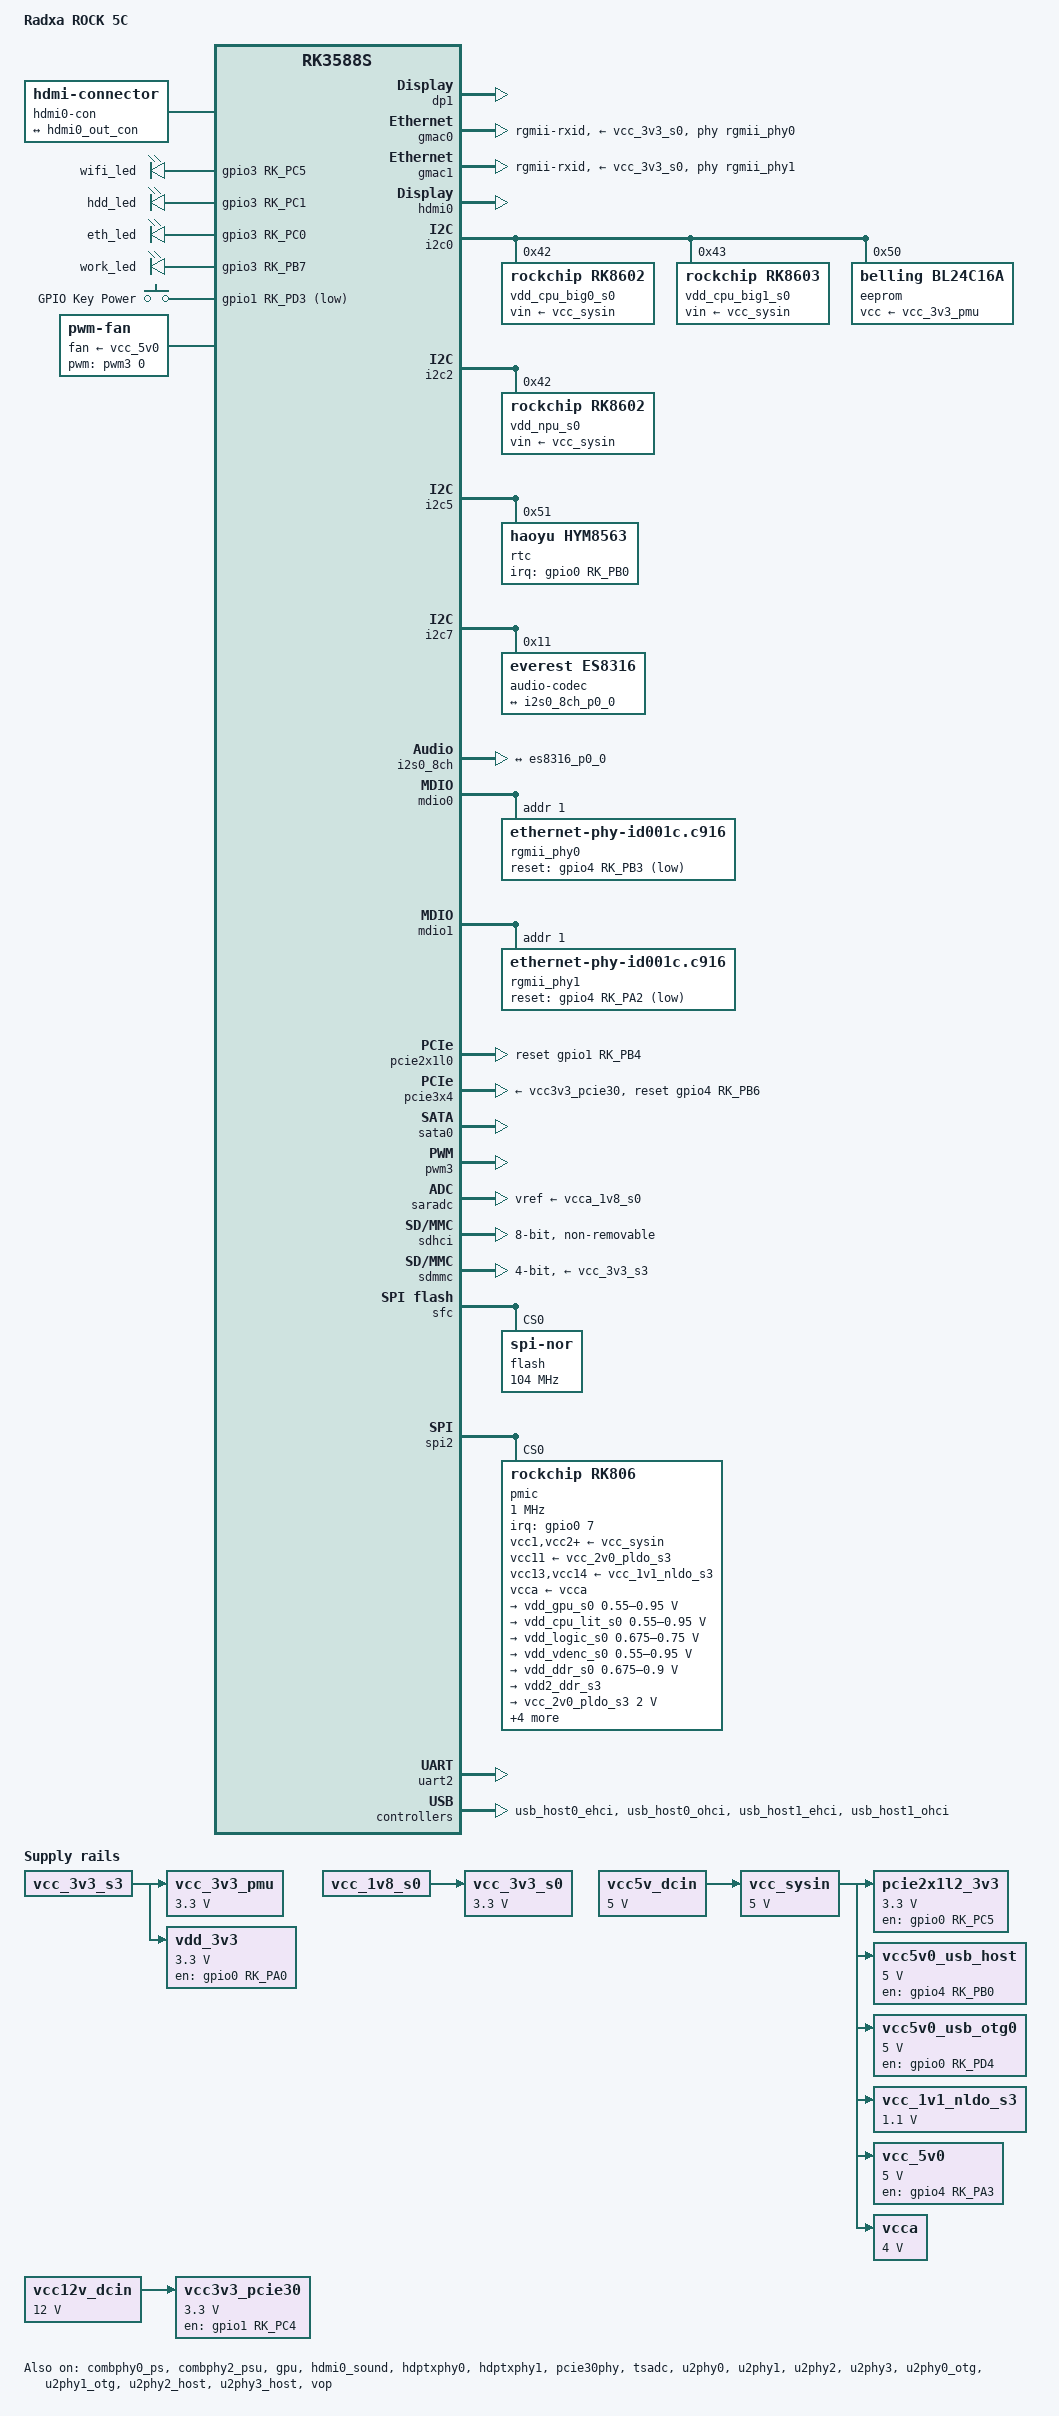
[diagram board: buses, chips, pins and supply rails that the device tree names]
// SPDX-License-Identifier: (GPL-2.0+ OR MIT)
/*
 * Copyright (c) 2024 Radxa Computer (Shenzhen) Co., Ltd.
 */

/dts-v1/;

#include <dt-bindings/gpio/gpio.h>
#include <dt-bindings/input/input.h>
#include <dt-bindings/leds/common.h>
#include <dt-bindings/pinctrl/rockchip.h>
#include <dt-bindings/soc/rockchip,vop2.h>
#include "rk3588.dtsi"

/ {
	model = "Radxa ROCK 5C";
	compatible = "radxa,rock-5c", "rockchip,rk3588s";

	aliases {
		ethernet0 = &gmac0;
		ethernet1 = &gmac1;
		mmc0 = &sdhci;
		mmc1 = &sdmmc;
	};

	chosen {
		stdout-path = "serial2:1500000n8";
	};

	hdmi0-con {
		compatible = "hdmi-connector";
		type = "a";

		port {
			hdmi0_con_in: endpoint {
				remote-endpoint = <&hdmi0_out_con>;
			};
		};
	};

	analog-sound {
		compatible = "audio-graph-card";
		label = "rk3588-es8316";
		dais = <&i2s0_8ch_p0>;
		routing = "MIC2", "Mic Jack",
			  "Headphones", "HPOL",
			  "Headphones", "HPOR";
		widgets = "Microphone", "Mic Jack",
			  "Headphone", "Headphones";
	};

	leds {
		compatible = "gpio-leds";
		wifi_led: wifi-led {
			gpios = <&gpio3 RK_PC5 GPIO_ACTIVE_HIGH>;
			default-state = "off";
		};
		hdd_led: hdd-led {
			gpios = <&gpio3 RK_PC1 GPIO_ACTIVE_HIGH>;
			default-state = "off";
		};
		eth_led: eth-led {
			gpios = <&gpio3 RK_PC0 GPIO_ACTIVE_HIGH>;
			default-state = "off";
		};
		work_led: work-led {
			gpios = <&gpio3 RK_PB7 GPIO_ACTIVE_HIGH>;
			//linux,default-trigger = "heartbeat";
			default-state = "on";
		};
	};

	gpio-keys {
		compatible = "gpio-keys";
		autorepeat;
		pinctrl-names = "default";
		pinctrl-0 = <&pwrbtn>;

		power {
			debounce-interval = <100>;
			gpios = <&gpio1 RK_PD3 GPIO_ACTIVE_LOW>;
			//gpios = <&gpio0 RK_PD5 GPIO_ACTIVE_LOW>;
			label = "GPIO Key Power";
			linux,code = <KEY_POWER>;
			wakeup-source;
		};
	};

	fan: fan {
		compatible = "pwm-fan";
		#cooling-cells = <2>;
		cooling-levels = <0 24 44 64 128 192 255>;
		fan-supply = <&vcc_5v0>;
		pwms = <&pwm3 0 10000 0>;
	};

	pcie2x1l2_3v3: regulator-pcie2x1l2-3v3 {
		compatible = "regulator-fixed";
		enable-active-high;
		gpio = <&gpio0 RK_PC5 GPIO_ACTIVE_HIGH>;
		pinctrl-names = "default";
		pinctrl-0 = <&pow_en>;
		regulator-name = "pcie2x1l2_3v3";
		regulator-min-microvolt = <3300000>;
		regulator-max-microvolt = <3300000>;
		vin-supply = <&vcc_sysin>;
	};

	vcc5v_dcin: regulator-vcc5v-dcin {
		compatible = "regulator-fixed";
		regulator-name = "vcc5v_dcin";
		regulator-always-on;
		regulator-boot-on;
		regulator-min-microvolt = <5000000>;
		regulator-max-microvolt = <5000000>;
	};

	vcc5v0_usb_host: regulator-vcc5v0-usb-host {
		compatible = "regulator-fixed";
		enable-active-high;
		gpio = <&gpio4 RK_PB0 GPIO_ACTIVE_HIGH>;
		pinctrl-names = "default";
		pinctrl-0 = <&usb_host_pwren_h>;
		regulator-name = "vcc5v0_usb_host";
		regulator-min-microvolt = <5000000>;
		regulator-max-microvolt = <5000000>;
		vin-supply = <&vcc_sysin>;
	};

	vcc5v0_usb_otg0: regulator-vcc5v0-usb-otg0 {
		compatible = "regulator-fixed";
		enable-active-high;
		gpio = <&gpio0 RK_PD4 GPIO_ACTIVE_HIGH>;
		pinctrl-names = "default";
		pinctrl-0 = <&usb_otg_pwren_h>;
		regulator-name = "vcc5v0_usb_otg0";
		regulator-min-microvolt = <5000000>;
		regulator-max-microvolt = <5000000>;
		vin-supply = <&vcc_sysin>;
	};

	vcc_1v1_nldo_s3: regulator-vcc-1v1-nldo-s3 {
		compatible = "regulator-fixed";
		regulator-name = "vcc_1v1_nldo_s3";
		regulator-always-on;
		regulator-boot-on;
		regulator-min-microvolt = <1100000>;
		regulator-max-microvolt = <1100000>;
		vin-supply = <&vcc_sysin>;
	};

	vcc_3v3_pmu: regulator-vcc-3v3-pmu {
		compatible = "regulator-fixed";
		regulator-name = "vcc_3v3_pmu";
		regulator-always-on;
		regulator-boot-on;
		regulator-min-microvolt = <3300000>;
		regulator-max-microvolt = <3300000>;
		vin-supply = <&vcc_3v3_s3>;
	};

	vcc_3v3_s0: regulator-vcc-3v3-s0 {
		compatible = "regulator-fixed";
		regulator-name = "vcc_3v3_s0";
		regulator-always-on;
		regulator-boot-on;
		regulator-min-microvolt = <3300000>;
		regulator-max-microvolt = <3300000>;
		vin-supply = <&vcc_1v8_s0>;
	};

	vcc_5v0: regulator-vcc-5v0 {
		compatible = "regulator-fixed";
		enable-active-high;
		gpio = <&gpio4 RK_PA3 GPIO_ACTIVE_HIGH>;
		pinctrl-names = "default";
		pinctrl-0 = <&vcc_5v0_pwren_h>;
		regulator-name = "vcc_5v0";
		regulator-min-microvolt = <5000000>;
		regulator-max-microvolt = <5000000>;
		vin-supply = <&vcc_sysin>;
	};

	vcc_sysin: regulator-vcc-sysin {
		compatible = "regulator-fixed";
		regulator-name = "vcc_sysin";
		regulator-always-on;
		regulator-boot-on;
		regulator-min-microvolt = <5000000>;
		regulator-max-microvolt = <5000000>;
		vin-supply = <&vcc5v_dcin>;
	};

	vcca: regulator-vcca {
		compatible = "regulator-fixed";
		regulator-name = "vcca";
		regulator-always-on;
		regulator-boot-on;
		regulator-min-microvolt = <4000000>;
		regulator-max-microvolt = <4000000>;
		vin-supply = <&vcc_sysin>;
	};

	vdd_3v3: regulator-vdd-3v3 {
		compatible = "regulator-fixed";
		enable-active-high;
		gpio = <&gpio0 RK_PA0 GPIO_ACTIVE_HIGH>;
		pinctrl-names = "default";
		pinctrl-0 = <&usb_wifi_pwr>;
		regulator-name = "vdd_3v3";
		regulator-always-on;
		regulator-boot-on;
		regulator-min-microvolt = <3300000>;
		regulator-max-microvolt = <3300000>;
		vin-supply = <&vcc_3v3_s3>;
	};

	vcc12v_dcin: vcc12v-dcin {
		compatible = "regulator-fixed";
		regulator-name = "vcc12v_dcin";
		regulator-always-on;
		regulator-boot-on;
		regulator-min-microvolt = <12000000>;
		regulator-max-microvolt = <12000000>;
	};

	vcc3v3_pcie30: vcc3v3-pcie30 {
		compatible = "regulator-fixed";
		regulator-name = "vcc3v3_pcie30";
		regulator-min-microvolt = <3300000>;
		regulator-max-microvolt = <3300000>;
		enable-active-high;
		pinctrl-names = "default";
		pinctrl-0 = <&vcc3v3_pcie30_en>;		
		gpios = <&gpio1 RK_PC4 GPIO_ACTIVE_HIGH>;    //hugsun gpio1_c4
		startup-delay-us = <10000>;
		vin-supply = <&vcc12v_dcin>;
	};
};

&combphy0_ps {
	status = "okay";
};

&combphy2_psu {
	status = "okay";
};

&cpu_b0 {
	cpu-supply = <&vdd_cpu_big0_s0>;
};

&cpu_b1 {
	cpu-supply = <&vdd_cpu_big0_s0>;
};

&cpu_b2 {
	cpu-supply = <&vdd_cpu_big1_s0>;
};

&cpu_b3 {
	cpu-supply = <&vdd_cpu_big1_s0>;
};

&cpu_l0 {
	cpu-supply = <&vdd_cpu_lit_s0>;
};

&cpu_l1 {
	cpu-supply = <&vdd_cpu_lit_s0>;
};

&cpu_l2 {
	cpu-supply = <&vdd_cpu_lit_s0>;
};

&cpu_l3 {
	cpu-supply = <&vdd_cpu_lit_s0>;
};

&dp0 {
	status = "disable";
};

//&dp0_in_vp2 {
//	status = "okay";
//};

&dp1 {
	pinctrl-0 = <&dp1m0_pins>;
	pinctrl-names = "default";
	status = "okay";
};

&gmac0 {
	clock_in_out = "output";
	phy-handle = <&rgmii_phy0>;
	phy-mode = "rgmii-rxid";
	phy-supply = <&vcc_3v3_s0>;
	pinctrl-0 = <&gmac0_miim
		     &gmac0_tx_bus2
		     &gmac0_rx_bus2
		     &gmac0_rgmii_clk
		     &gmac0_rgmii_bus
		     &gmac0_clkinout>;
	pinctrl-names = "default";
	tx_delay = <0x44>;
	status = "okay";
};

&gmac1 {
	clock_in_out = "output";
	phy-handle = <&rgmii_phy1>;
	phy-mode = "rgmii-rxid";
	phy-supply = <&vcc_3v3_s0>;
	pinctrl-0 = <&gmac1_miim
		     &gmac1_tx_bus2
		     &gmac1_rx_bus2
		     &gmac1_rgmii_clk
		     &gmac1_rgmii_bus
		     &gmac1_clkinout>;
	pinctrl-names = "default";
	tx_delay = <0x42>;
	status = "okay";
};

&gpu {
	mali-supply = <&vdd_gpu_s0>;
	status = "okay";
};

&hdmi0 {
	enable-gpios = <&gpio4 RK_PB1 GPIO_ACTIVE_HIGH>;
	cec-enable = "true" ;
	status = "okay";
};

&hdmi0_in {
	hdmi0_in_vp0: endpoint {
		remote-endpoint = <&vp0_out_hdmi0>;
	};
};

&hdmi0_out {
	hdmi0_out_con: endpoint {
		remote-endpoint = <&hdmi0_con_in>;
	};
};

&hdmi0_sound {
	status = "okay";
};

&hdptxphy0 {
	status = "okay";
};

&hdptxphy1 {
	status = "okay";
};

&i2c0 {
	pinctrl-names = "default";
	pinctrl-0 = <&i2c0m2_xfer>;
	status = "okay";

	vdd_cpu_big0_s0: regulator@42 {
		compatible = "rockchip,rk8602";
		reg = <0x42>;
		fcs,suspend-voltage-selector = <1>;
		regulator-name = "vdd_cpu_big0_s0";
		regulator-always-on;
		regulator-boot-on;
		regulator-min-microvolt = <550000>;
		regulator-max-microvolt = <1050000>;
		regulator-ramp-delay = <2300>;
		vin-supply = <&vcc_sysin>;

		regulator-state-mem {
			regulator-off-in-suspend;
		};
	};

	vdd_cpu_big1_s0: regulator@43 {
		compatible = "rockchip,rk8603", "rockchip,rk8602";
		reg = <0x43>;
		fcs,suspend-voltage-selector = <1>;
		regulator-name = "vdd_cpu_big1_s0";
		regulator-always-on;
		regulator-boot-on;
		regulator-min-microvolt = <550000>;
		regulator-max-microvolt = <1050000>;
		regulator-ramp-delay = <2300>;
		vin-supply = <&vcc_sysin>;

		regulator-state-mem {
			regulator-off-in-suspend;
		};
	};

	eeprom@50 {
		compatible = "belling,bl24c16a", "atmel,24c16";
		reg = <0x50>;
		pagesize = <16>;
		vcc-supply = <&vcc_3v3_pmu>;
	};
};

&i2c2 {
	status = "okay";

	vdd_npu_s0: regulator@42 {
		compatible = "rockchip,rk8602";
		reg = <0x42>;
		fcs,suspend-voltage-selector = <1>;
		regulator-name = "vdd_npu_s0";
		regulator-always-on;
		regulator-boot-on;
		regulator-min-microvolt = <550000>;
		regulator-max-microvolt = <950000>;
		regulator-ramp-delay = <2300>;
		vin-supply = <&vcc_sysin>;

		regulator-state-mem {
			regulator-off-in-suspend;
		};
	};
};

&i2c5 {
	pinctrl-names = "default";
	pinctrl-0 = <&i2c5m2_xfer>;
	status = "okay";

	rtc@51 {
		compatible = "haoyu,hym8563";
		reg = <0x51>;
		#clock-cells = <0>;
		clock-output-names = "rtcic_32kout";
		interrupt-parent = <&gpio0>;
		interrupts = <RK_PB0 IRQ_TYPE_LEVEL_LOW>;
		pinctrl-names = "default";
		pinctrl-0 = <&rtc_int_l>;
	};
};

&i2c7 {
	status = "okay";

	audio-codec@11 {
		compatible = "everest,es8316";
		reg = <0x11>;
		assigned-clocks = <&cru I2S0_8CH_MCLKOUT>;
		assigned-clock-rates = <12288000>;
		clocks = <&cru I2S0_8CH_MCLKOUT>;
		clock-names = "mclk";
		#sound-dai-cells = <0>;

		port {
			es8316_p0_0: endpoint {
				remote-endpoint = <&i2s0_8ch_p0_0>;
			};
		};
	};
};

&i2s0_8ch {
	pinctrl-names = "default";
	pinctrl-0 = <&i2s0_lrck
		     &i2s0_mclk
		     &i2s0_sclk
		     &i2s0_sdi0
		     &i2s0_sdo0>;
	status = "okay";

	i2s0_8ch_p0: port {
		i2s0_8ch_p0_0: endpoint {
			dai-format = "i2s";
			mclk-fs = <256>;
			remote-endpoint = <&es8316_p0_0>;
		};
	};
};

&mdio0 {
	rgmii_phy0: ethernet-phy@0 {
		compatible = "ethernet-phy-id001c.c916";
		reg = <1>;
		pinctrl-names = "default";
		pinctrl-0 = <&gmac0_rstn>;
		reset-assert-us = <20000>;
		reset-deassert-us = <100000>;
		reset-gpios = <&gpio4 RK_PB3 GPIO_ACTIVE_LOW>;
	};
};

&mdio1 {
	rgmii_phy1: ethernet-phy@1 {
		compatible = "ethernet-phy-id001c.c916";
		reg = <1>;
		pinctrl-names = "default";
		pinctrl-0 = <&gmac1_rstn>;
		reset-assert-us = <20000>;
		reset-deassert-us = <100000>;
		reset-gpios = <&gpio4 RK_PA2 GPIO_ACTIVE_LOW>;
	};
};

&package_thermal {
	polling-delay = <1000>;

	trips {
		package_fan0: package-fan0 {
			temperature = <55000>;
			hysteresis = <2000>;
			type = "active";
		};

		package_fan1: package-fan1 {
			temperature = <65000>;
			hysteresis = <2000>;
			type = "active";
		};
	};

	cooling-maps {
		map0 {
			trip = <&package_fan0>;
			cooling-device = <&fan THERMAL_NO_LIMIT 1>;
		};

		map1 {
			trip = <&package_fan1>;
			cooling-device = <&fan 2 THERMAL_NO_LIMIT>;
		};
	};
};

&pcie2x1l0 {
	reset-gpios = <&gpio1 RK_PB4 GPIO_ACTIVE_HIGH>;
	rockchip,skip-scan-in-resume;
	status = "okay";
};

&pcie30phy {
	status = "okay";
};

&pcie3x4 {
	reset-gpios = <&gpio4 RK_PB6 GPIO_ACTIVE_HIGH>;
	vpcie3v3-supply = <&vcc3v3_pcie30>;
	status = "okay";
};

&sata0 {
	status = "okay";
};

&pinctrl {

	buttons {
		pwrbtn: pwrbtn {
			rockchip,pins = <1 RK_PD3 RK_FUNC_GPIO &pcfg_pull_up>;
			//rockchip,pins = <0 RK_PD5 RK_FUNC_GPIO &pcfg_pull_up>;
		};
	};

	mdio {
		gmac0_rstn: gmac0-rstn {
			rockchip,pins = <4 RK_PB3 RK_FUNC_GPIO &pcfg_pull_none>;
		};
		gmac1_rstn: gmac1-rstn {
			rockchip,pins = <4 RK_PA2 RK_FUNC_GPIO &pcfg_pull_none>;
		};
	};

	pcie {
		pcie20x1_2_perstn_m0: pcie20x1-2-perstn-m0 {
			rockchip,pins = <3 RK_PD1 RK_FUNC_GPIO &pcfg_pull_none>;
		};

		pow_en: pow-en {
			rockchip,pins = <0 RK_PC5 RK_FUNC_GPIO &pcfg_pull_none>;
		};

		vcc3v3_pcie30_en: vcc3v3-pcie30-en {
			rockchip,pins = <1 RK_PC4 RK_FUNC_GPIO &pcfg_pull_up>;
		};
	};

	rtc {
		rtc_int_l: rtc-int-l {
			rockchip,pins = <0 RK_PB0 RK_FUNC_GPIO &pcfg_pull_none>;
		};
	};

	hdmirx {
		hdmirx_hpd: hdmirx-5v-detection {
			rockchip,pins = <1 RK_PD5 RK_FUNC_GPIO &pcfg_pull_none>;
		};
	};

	usb {
		usb_host_pwren_h: usb-host-pwren-h {
			rockchip,pins = <4 RK_PB0 RK_FUNC_GPIO &pcfg_pull_none>;
		};

		usb_otg_pwren_h: usb-otg-pwren-h {
			rockchip,pins = <0 RK_PD4 RK_FUNC_GPIO &pcfg_pull_none>;
		};

		usb_wifi_pwr: usb-wifi-pwr {
			rockchip,pins = <0 RK_PA0 RK_FUNC_GPIO &pcfg_pull_none>;
		};

		vcc_5v0_pwren_h: vcc-5v0-pwren-h {
			rockchip,pins = <4 RK_PA3 RK_FUNC_GPIO &pcfg_pull_none>;
		};
	};
};

&pwm3 {
	pinctrl-names = "default";
	pinctrl-0 = <&pwm3m1_pins>;
	status = "okay";
};

&saradc {
	vref-supply = <&vcca_1v8_s0>;
	status = "okay";
};

&sdhci {
	bus-width = <8>;
	mmc-hs200-1_8v;
	non-removable;
	status = "okay";
};

&sdmmc {
	bus-width = <4>;
	cap-mmc-highspeed;
	cap-sd-highspeed;
	disable-wp;
	sd-uhs-sdr104;
	vmmc-supply = <&vcc_3v3_s3>;
	vqmmc-supply = <&vccio_sd_s0>;
	status = "okay";
};

&sfc {
	pinctrl-names = "default";
	pinctrl-0 = <&fspim0_pins>;

	flash@0 {
		compatible = "jedec,spi-nor";
		reg = <0>;
		spi-max-frequency = <104000000>;
		spi-rx-bus-width = <4>;
		spi-tx-bus-width = <1>;
	};
};

&spi2 {
	status = "okay";
	assigned-clocks = <&cru CLK_SPI2>;
	assigned-clock-rates = <200000000>;
	num-cs = <1>;
	pinctrl-names = "default";
	pinctrl-0 = <&spi2m2_cs0 &spi2m2_pins>;

	pmic@0 {
		compatible = "rockchip,rk806";
		reg = <0>;
		gpio-controller;
		#gpio-cells = <2>;
		interrupt-parent = <&gpio0>;
		interrupts = <7 IRQ_TYPE_LEVEL_LOW>;
		pinctrl-names = "default";
		pinctrl-0 = <&pmic_pins>, <&rk806_dvs1_null>,
			    <&rk806_dvs2_null>, <&rk806_dvs3_null>;
		spi-max-frequency = <1000000>;
		system-power-controller;

		vcc1-supply = <&vcc_sysin>;
		vcc2-supply = <&vcc_sysin>;
		vcc3-supply = <&vcc_sysin>;
		vcc4-supply = <&vcc_sysin>;
		vcc5-supply = <&vcc_sysin>;
		vcc6-supply = <&vcc_sysin>;
		vcc7-supply = <&vcc_sysin>;
		vcc8-supply = <&vcc_sysin>;
		vcc9-supply = <&vcc_sysin>;
		vcc10-supply = <&vcc_sysin>;
		vcc11-supply = <&vcc_2v0_pldo_s3>;
		vcc12-supply = <&vcc_sysin>;
		vcc13-supply = <&vcc_1v1_nldo_s3>;
		vcc14-supply = <&vcc_1v1_nldo_s3>;
		vcca-supply = <&vcca>;

		rk806_dvs1_null: dvs1-null-pins {
			pins = "gpio_pwrctrl1";
			function = "pin_fun0";
		};

		rk806_dvs2_null: dvs2-null-pins {
			pins = "gpio_pwrctrl2";
			function = "pin_fun0";
		};

		rk806_dvs3_null: dvs3-null-pins {
			pins = "gpio_pwrctrl3";
			function = "pin_fun0";
		};

		regulators {
			vdd_gpu_s0: dcdc-reg1 {
				regulator-name = "vdd_gpu_s0";
				regulator-boot-on;
				regulator-min-microvolt = <550000>;
				regulator-max-microvolt = <950000>;
				regulator-ramp-delay = <12500>;
				regulator-enable-ramp-delay = <400>;

				regulator-state-mem {
					regulator-off-in-suspend;
				};
			};

			vdd_cpu_lit_s0: dcdc-reg2 {
				regulator-name = "vdd_cpu_lit_s0";
				regulator-always-on;
				regulator-boot-on;
				regulator-min-microvolt = <550000>;
				regulator-max-microvolt = <950000>;
				regulator-ramp-delay = <12500>;

				regulator-state-mem {
					regulator-off-in-suspend;
				};
			};

			vdd_logic_s0: dcdc-reg3 {
				regulator-name = "vdd_logic_s0";
				regulator-always-on;
				regulator-boot-on;
				regulator-min-microvolt = <675000>;
				regulator-max-microvolt = <750000>;
				regulator-ramp-delay = <12500>;

				regulator-state-mem {
					regulator-on-in-suspend;
					regulator-suspend-microvolt = <750000>;
				};
			};

			vdd_vdenc_s0: dcdc-reg4 {
				regulator-name = "vdd_vdenc_s0";
				regulator-always-on;
				regulator-boot-on;
				regulator-min-microvolt = <550000>;
				regulator-max-microvolt = <950000>;
				regulator-ramp-delay = <12500>;

				regulator-state-mem {
					regulator-off-in-suspend;
				};
			};

			vdd_ddr_s0: dcdc-reg5 {
				regulator-name = "vdd_ddr_s0";
				regulator-always-on;
				regulator-boot-on;
				regulator-min-microvolt = <675000>;
				regulator-max-microvolt = <900000>;
				regulator-ramp-delay = <12500>;

				regulator-state-mem {
					regulator-off-in-suspend;
					regulator-suspend-microvolt = <850000>;
				};
			};

			vdd2_ddr_s3: dcdc-reg6 {
				regulator-name = "vdd2_ddr_s3";
				regulator-always-on;
				regulator-boot-on;

				regulator-state-mem {
					regulator-on-in-suspend;
				};
			};

			vcc_2v0_pldo_s3: dcdc-reg7 {
				regulator-name = "vdd_2v0_pldo_s3";
				regulator-always-on;
				regulator-boot-on;
				regulator-min-microvolt = <2000000>;
				regulator-max-microvolt = <2000000>;
				regulator-ramp-delay = <12500>;

				regulator-state-mem {
					regulator-on-in-suspend;
					regulator-suspend-microvolt = <2000000>;
				};
			};

			vcc_3v3_s3: dcdc-reg8 {
				regulator-name = "vcc_3v3_s3";
				regulator-always-on;
				regulator-boot-on;
				regulator-min-microvolt = <3300000>;
				regulator-max-microvolt = <3300000>;

				regulator-state-mem {
					regulator-on-in-suspend;
					regulator-suspend-microvolt = <3300000>;
				};
			};

			vddq_ddr_s0: dcdc-reg9 {
				regulator-name = "vddq_ddr_s0";
				regulator-always-on;
				regulator-boot-on;

				regulator-state-mem {
					regulator-off-in-suspend;
				};
			};

			vcc1v8_pmu_ddr_s3: dcdc-reg10 {
				regulator-name = "vcc1v8_pmu_ddr_s3";
				regulator-always-on;
				regulator-boot-on;
				regulator-min-microvolt = <1800000>;
				regulator-max-microvolt = <1800000>;

				regulator-state-mem {
					regulator-on-in-suspend;
					regulator-suspend-microvolt = <1800000>;
				};
			};

			vcc_1v8_s0: pldo-reg1 {
				regulator-name = "vcc_1v8_s0";
				regulator-always-on;
				regulator-boot-on;
				regulator-min-microvolt = <1800000>;
				regulator-max-microvolt = <1800000>;

				regulator-state-mem {
					regulator-on-in-suspend;
					regulator-suspend-microvolt = <1800000>;
				};
			};

			vcca_1v8_s0: pldo-reg2 {
				regulator-name = "vcca_1v8_s0";
				regulator-always-on;
				regulator-boot-on;
				regulator-min-microvolt = <1800000>;
				regulator-max-microvolt = <1800000>;

				regulator-state-mem {
					regulator-on-in-suspend;
					regulator-suspend-microvolt = <1800000>;
				};
			};

			vdda_1v2_s0: pldo-reg3 {
				regulator-name = "vdda_1v2_s0";
				regulator-always-on;
				regulator-boot-on;
				regulator-min-microvolt = <1200000>;
				regulator-max-microvolt = <1200000>;

				regulator-state-mem {
					regulator-off-in-suspend;
				};
			};

			vcca_3v3_s0: pldo-reg4 {
				regulator-name = "vcca_3v3_s0";
				regulator-always-on;
				regulator-boot-on;
				regulator-min-microvolt = <3300000>;
				regulator-max-microvolt = <3300000>;

				regulator-state-mem {
					regulator-on-in-suspend;
					regulator-suspend-microvolt = <3300000>;
				};
			};

			vccio_sd_s0: pldo-reg5 {
				regulator-name = "vccio_sd_s0";
				regulator-always-on;
				regulator-boot-on;
				regulator-min-microvolt = <1800000>;
				regulator-max-microvolt = <3300000>;

				regulator-state-mem {
					regulator-off-in-suspend;
				};
			};

			pldo6_s3: pldo-reg6 {
				regulator-name = "pldo6_s3";
				regulator-always-on;
				regulator-boot-on;
				regulator-min-microvolt = <1800000>;
				regulator-max-microvolt = <1800000>;

				regulator-state-mem {
					regulator-on-in-suspend;
					regulator-suspend-microvolt = <1800000>;
				};
			};

			vdd_0v75_s3: nldo-reg1 {
				regulator-name = "vdd_0v75_s3";
				regulator-always-on;
				regulator-boot-on;
				regulator-min-microvolt = <750000>;
				regulator-max-microvolt = <750000>;

				regulator-state-mem {
					regulator-on-in-suspend;
					regulator-suspend-microvolt = <750000>;
				};
			};

			vdda_ddr_pll_s0: nldo-reg2 {
				regulator-name = "vdda_ddr_pll_s0";
				regulator-always-on;
				regulator-boot-on;
				regulator-min-microvolt = <850000>;
				regulator-max-microvolt = <850000>;

				regulator-state-mem {
					regulator-on-in-suspend;
					regulator-suspend-microvolt = <850000>;
				};
			};

			vdda_0v75_s0: nldo-reg3 {
				regulator-name = "vdda_0v75_s0";
				regulator-always-on;
				regulator-boot-on;
				regulator-min-microvolt = <750000>;
				regulator-max-microvolt = <750000>;

				regulator-state-mem {
					regulator-off-in-suspend;
				};
			};

			vdda_0v85_s0: nldo-reg4 {
				regulator-name = "vdda_0v85_s0";
				regulator-always-on;
				regulator-boot-on;
				regulator-min-microvolt = <850000>;
				regulator-max-microvolt = <850000>;

				regulator-state-mem {
					regulator-off-in-suspend;
				};
			};

			vdd_0v75_s0: nldo-reg5 {
				regulator-name = "vdd_0v75_s0";
				regulator-always-on;
				regulator-boot-on;
				regulator-min-microvolt = <750000>;
				regulator-max-microvolt = <750000>;

				regulator-state-mem {
					regulator-off-in-suspend;
				};
			};
		};
	};
};

&tsadc {
	rockchip,hw-tshut-mode = <1>;
	rockchip,hw-tshut-polarity = <0>;
	status = "okay";
};

&uart2 {
	pinctrl-0 = <&uart2m0_xfer>;
	status = "okay";
};

//type-c0
&u2phy0 {
	status = "okay";
};

&u2phy1 {
	status = "okay";
};

//usb2.0 host0
&u2phy2 {
	status = "okay";
};

//usb2.0 host1
&u2phy3 {
	status = "okay";
};

&u2phy0_otg {
	rockchip,typec-vbus-det;
	status = "okay";
};

&u2phy1_otg {
	phy-supply = <&vcc5v0_usb_host>;
	status = "okay";
};

&u2phy2_host {
	phy-supply = <&vcc5v0_usb_host>;
	status = "okay";
};

&u2phy3_host {
	phy-supply = <&vcc5v0_usb_host>;
	status = "okay";
};

&usb_host0_ehci {
	status = "okay";
};

&usb_host0_ohci {
	status = "okay";
};

&usb_host1_ehci {
	status = "okay";
};

&usb_host1_ohci {
	status = "okay";
};

&vop_mmu {
	status = "okay";
};

&vop {
	status = "okay";
};

&vp0 {
	vp0_out_hdmi0: endpoint@ROCKCHIP_VOP2_EP_HDMI0 {
		reg = <ROCKCHIP_VOP2_EP_HDMI0>;
		remote-endpoint = <&hdmi0_in_vp0>;
	};
};
